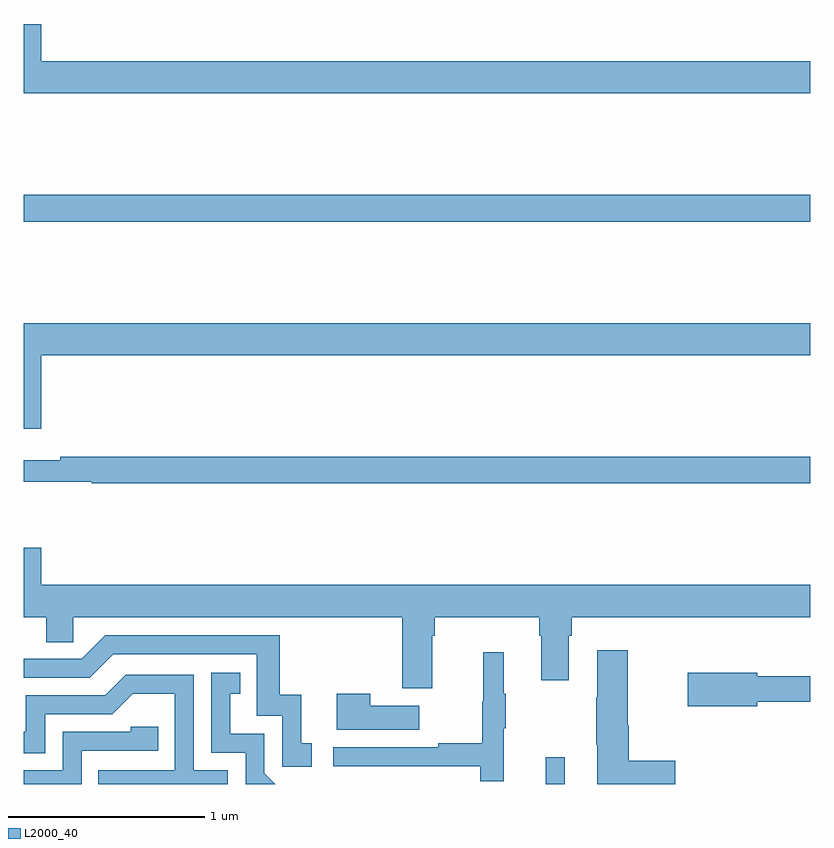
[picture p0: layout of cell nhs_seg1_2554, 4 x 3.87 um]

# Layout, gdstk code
import gdstk
lib = gdstk.Library(unit=1e-6, precision=1e-09)
def R(c, l, rs):  # rectangles x0, y0, x1, y1
    for r in rs: c.add(gdstk.rectangle(r[:2], r[2:], *l))
def P(c, l, *ps):  # polygons
    for p in ps: c.add(gdstk.Polygon(p, *l))
L2000_40 = (2000, 40)

nhs_seg1_2554 = lib.new_cell('nhs_seg1_2554')
R(nhs_seg1_2554, L2000_40, [(251.655,568.199,251.752,568.336), (249,571.06,253,571.196)])
P(nhs_seg1_2554, L2000_40, [(253,571.876),(249.088,571.876),(249.088,572.065),(249,572.065),(249,571.712),(253,571.712)],
  [(249.088,570.38),(253,570.38),(253,570.544),(249,570.544),(249,570.006),(249.088,570.006)],
  [(253,569.864),(249.184,569.864),(249.184,569.845),(249,569.845),(249,569.736),(249.345,569.736),(249.345,569.728),(253,569.728)],
  [(249.088,569.401),(249,569.401),(249,569.048),(249.113,569.048),(249.113,568.921),(249.252,568.921),(249.252,569.048),(250.925,569.048),(250.925,568.686),(251.077,568.686),(251.077,568.952),(251.09,568.952),(251.09,569.048),(251.621,569.048),(251.621,568.952),(251.633,568.952),(251.633,568.728),(251.773,568.728),(251.773,568.952),(251.786,568.952),(251.786,569.048),(253,569.048),(253,569.212),(249.088,569.212)],
  [(250.465,568.407),(250.412,568.407),(250.412,568.654),(250.301,568.654),(250.301,568.956),(249.414,568.956),(249.294,568.836),(249,568.836),(249,568.74),(249.336,568.74),(249.456,568.86),(250.185,568.86),(250.185,568.545),(250.314,568.545),(250.314,568.287),(250.465,568.287)],
  [(252.313,568.316),(252.077,568.316),(252.077,568.499),(252.072,568.499),(252.072,568.879),(251.918,568.879),(251.918,568.64),(251.911,568.64),(251.911,568.399),(251.918,568.399),(251.918,568.199),(252.313,568.199)],
  [(251.441,568.483),(251.452,568.483),(251.452,568.657),(251.441,568.657),(251.441,568.87),(251.338,568.87),(251.338,568.62),(251.331,568.62),(251.331,568.406),(251.107,568.406),(251.107,568.386),(250.575,568.386),(250.575,568.29),(251.323,568.29),(251.323,568.212),(251.441,568.212)],
  [(250.224,568.254),(250.224,568.455),(250.051,568.455),(250.051,568.659),(250.1,568.659),(250.1,568.765),(249.954,568.765),(249.954,568.359),(250.128,568.359),(250.128,568.199),(250.279,568.199)],
  [(252.73,568.618),(253,568.618),(253,568.747),(252.73,568.747),(252.73,568.765),(252.378,568.765),(252.378,568.595),(252.73,568.595)],
  [(250.038,568.269),(249.864,568.269),(249.864,568.755),(249.518,568.755),(249.413,568.65),(249.01,568.65),(249.01,568.465),(249,568.465),(249,568.356),(249.108,568.356),(249.108,568.554),(249.45,568.554),(249.554,568.658),(249.768,568.658),(249.768,568.269),(249.379,568.269),(249.379,568.199),(250.038,568.199)],
  [(251.011,568.597),(250.763,568.597),(250.763,568.657),(250.592,568.657),(250.592,568.475),(251.011,568.475)],
  [(249.294,568.368),(249.683,568.368),(249.683,568.491),(249.543,568.491),(249.543,568.464),(249.198,568.464),(249.198,568.269),(249,568.269),(249,568.199),(249.294,568.199)])

lib.write_gds('nhs_seg1_2554.gds')
